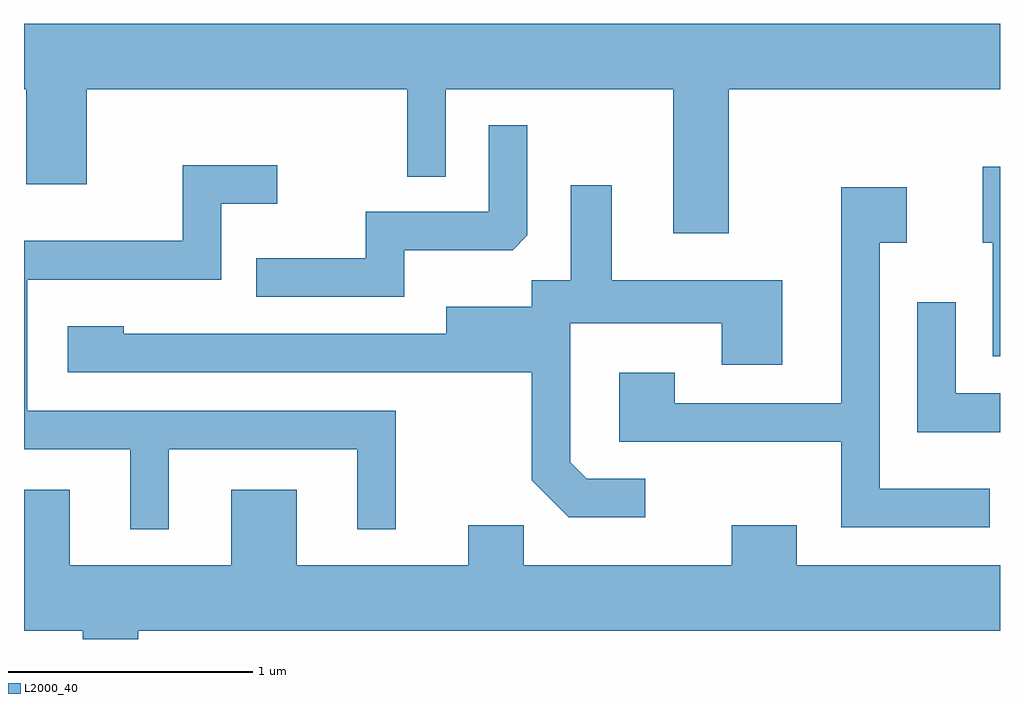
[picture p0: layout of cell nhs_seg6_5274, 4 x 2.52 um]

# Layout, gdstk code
import gdstk
lib = gdstk.Library(unit=1e-6, precision=1e-09)
def P(c, l, *ps):  # polygons
    for p in ps: c.add(gdstk.Polygon(p, *l))
L2000_40 = (2000, 40)

nhs_seg6_5274 = lib.new_cell('nhs_seg6_5274')
P(nhs_seg6_5274, L2000_40, [(348.499,1614.416),(349.611,1614.416),(349.611,1614.684),(345.611,1614.684),(345.611,1614.416),(345.621,1614.416),(345.621,1614.026),(345.869,1614.026),(345.869,1614.416),(347.181,1614.416),(347.181,1614.058),(347.339,1614.058),(347.339,1614.416),(348.271,1614.416),(348.271,1613.826),(348.499,1613.826)],
  [(347.169,1613.756),(347.614,1613.756),(347.674,1613.817),(347.674,1614.268),(347.516,1614.268),(347.516,1613.914),(347.011,1613.914),(347.011,1613.724),(346.563,1613.724),(346.563,1613.566),(347.169,1613.566)],
  [(346.204,1612.941),(346.976,1612.941),(346.976,1612.613),(347.134,1612.613),(347.134,1613.099),(345.624,1613.099),(345.624,1613.636),(346.419,1613.636),(346.419,1613.946),(346.648,1613.946),(346.648,1614.104),(346.261,1614.104),(346.261,1613.794),(345.611,1613.794),(345.611,1612.941),(346.046,1612.941),(346.046,1612.613),(346.204,1612.613)],
  [(349.611,1614.099),(349.541,1614.099),(349.541,1613.786),(349.581,1613.786),(349.581,1613.321),(349.611,1613.321)],
  [(348.158,1612.819),(347.917,1612.819),(347.849,1612.887),(347.849,1613.456),(348.471,1613.456),(348.471,1613.286),(348.719,1613.286),(348.719,1613.634),(348.019,1613.634),(348.019,1614.023),(347.851,1614.023),(347.851,1613.634),(347.691,1613.634),(347.691,1613.524),(347.341,1613.524),(347.341,1613.414),(346.019,1613.414),(346.019,1613.444),(345.791,1613.444),(345.791,1613.256),(347.691,1613.256),(347.691,1612.814),(347.844,1612.661),(348.158,1612.661)],
  [(349.568,1612.779),(349.119,1612.779),(349.119,1613.786),(349.229,1613.786),(349.229,1614.014),(348.961,1614.014),(348.961,1613.129),(348.279,1613.129),(348.279,1613.254),(348.051,1613.254),(348.051,1612.971),(348.961,1612.971),(348.961,1612.621),(349.568,1612.621)],
  [(349.611,1613.169),(349.429,1613.169),(349.429,1613.543),(349.271,1613.543),(349.271,1613.011),(349.611,1613.011)],
  [(345.799,1612.774),(345.611,1612.774),(345.611,1612.196),(345.851,1612.196),(345.851,1612.162),(346.079,1612.162),(346.079,1612.196),(349.611,1612.196),(349.611,1612.464),(348.779,1612.464),(348.779,1612.629),(348.511,1612.629),(348.511,1612.464),(347.659,1612.464),(347.659,1612.629),(347.431,1612.629),(347.431,1612.464),(346.729,1612.464),(346.729,1612.774),(346.461,1612.774),(346.461,1612.464),(345.799,1612.464)])

lib.write_gds('nhs_seg6_5274.gds')
